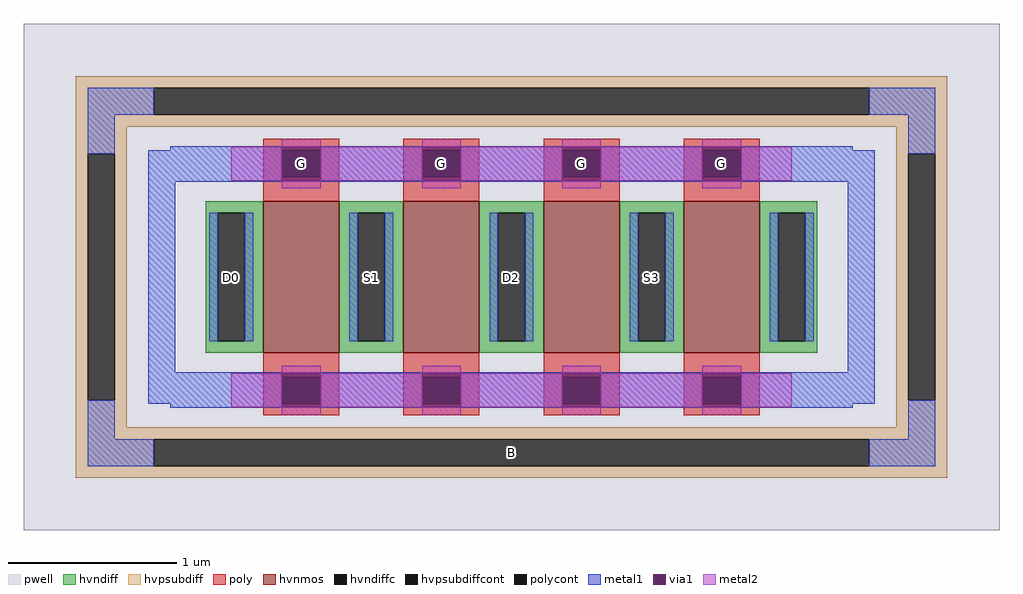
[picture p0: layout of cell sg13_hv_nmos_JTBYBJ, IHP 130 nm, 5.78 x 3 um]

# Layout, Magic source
magic
tech ihp-sg13cmos5l
magscale 1 2
<< pwell >>
rect -578 -300 578 300
<< hvnmos >>
rect -294 -90 -204 90
rect -128 -90 -38 90
rect 38 -90 128 90
rect 204 -90 294 90
<< hvndiff >>
rect -362 76 -294 90
rect -362 -76 -348 76
rect -316 -76 -294 76
rect -362 -90 -294 -76
rect -204 76 -128 90
rect -204 -76 -182 76
rect -150 -76 -128 76
rect -204 -90 -128 -76
rect -38 76 38 90
rect -38 -76 -16 76
rect 16 -76 38 76
rect -38 -90 38 -76
rect 128 76 204 90
rect 128 -76 150 76
rect 182 -76 204 76
rect 128 -90 204 -76
rect 294 76 362 90
rect 294 -76 316 76
rect 348 -76 362 76
rect 294 -90 362 -76
<< hvndiffc >>
rect -348 -76 -316 76
rect -182 -76 -150 76
rect -16 -76 16 76
rect 150 -76 182 76
rect 316 -76 348 76
<< hvpsubdiff >>
rect -516 224 516 238
rect -516 192 -424 224
rect 424 192 516 224
rect -516 178 516 192
rect -516 146 -456 178
rect -516 -146 -502 146
rect -470 -146 -456 146
rect 456 146 516 178
rect -516 -178 -456 -146
rect 456 -146 470 146
rect 502 -146 516 146
rect 456 -178 516 -146
rect -516 -192 516 -178
rect -516 -224 -424 -192
rect 424 -224 516 -192
rect -516 -238 516 -224
<< hvpsubdiffcont >>
rect -424 192 424 224
rect -502 -146 -470 146
rect 470 -146 502 146
rect -424 -224 424 -192
<< poly >>
rect -294 150 -204 164
rect -294 118 -272 150
rect -226 118 -204 150
rect -294 90 -204 118
rect -128 150 -38 164
rect -128 118 -106 150
rect -60 118 -38 150
rect -128 90 -38 118
rect 38 150 128 164
rect 38 118 60 150
rect 106 118 128 150
rect 38 90 128 118
rect 204 150 294 164
rect 204 118 226 150
rect 272 118 294 150
rect 204 90 294 118
rect -294 -118 -204 -90
rect -294 -150 -272 -118
rect -226 -150 -204 -118
rect -294 -164 -204 -150
rect -128 -118 -38 -90
rect -128 -150 -106 -118
rect -60 -150 -38 -118
rect -128 -164 -38 -150
rect 38 -118 128 -90
rect 38 -150 60 -118
rect 106 -150 128 -118
rect 38 -164 128 -150
rect 204 -118 294 -90
rect 204 -150 226 -118
rect 272 -150 294 -118
rect 204 -164 294 -150
<< polycont >>
rect -272 118 -226 150
rect -106 118 -60 150
rect 60 118 106 150
rect 226 118 272 150
rect -272 -150 -226 -118
rect -106 -150 -60 -118
rect 60 -150 106 -118
rect 226 -150 272 -118
<< metal1 >>
rect -502 192 -424 224
rect 424 192 502 224
rect -502 146 -470 192
rect -404 154 404 155
rect -404 150 -272 154
rect -502 -192 -470 -146
rect -430 114 -272 150
rect -226 114 -106 154
rect -60 114 60 154
rect 106 114 226 154
rect 272 150 404 154
rect 272 114 430 150
rect -430 113 430 114
rect -430 -113 -398 113
rect -358 -76 -348 76
rect -316 -76 -306 76
rect -192 -76 -182 76
rect -150 -76 -140 76
rect -26 -76 -16 76
rect 16 -76 26 76
rect 140 -76 150 76
rect 182 -76 192 76
rect 306 -76 316 76
rect 348 -76 358 76
rect 398 -113 430 113
rect -430 -114 430 -113
rect -430 -150 -272 -114
rect -404 -154 -272 -150
rect -226 -154 -106 -114
rect -60 -154 60 -114
rect 106 -154 226 -114
rect 272 -150 430 -114
rect 470 146 502 192
rect 272 -154 404 -150
rect -404 -155 404 -154
rect 470 -192 502 -146
rect -502 -224 -424 -192
rect 424 -224 502 -192
<< via1 >>
rect -272 150 -226 154
rect -272 118 -226 150
rect -272 114 -226 118
rect -106 150 -60 154
rect -106 118 -60 150
rect -106 114 -60 118
rect 60 150 106 154
rect 60 118 106 150
rect 60 114 106 118
rect 226 150 272 154
rect 226 118 272 150
rect 226 114 272 118
rect -272 -118 -226 -114
rect -272 -150 -226 -118
rect -272 -154 -226 -150
rect -106 -118 -60 -114
rect -106 -150 -60 -118
rect -106 -154 -60 -150
rect 60 -118 106 -114
rect 60 -150 106 -118
rect 60 -154 106 -150
rect 226 -118 272 -114
rect 226 -150 272 -118
rect 226 -154 272 -150
<< metal2 >>
rect -272 154 -226 163
rect -106 154 -60 163
rect 60 154 106 163
rect 226 154 272 163
rect -332 114 -272 154
rect -226 114 -106 154
rect -60 114 60 154
rect 106 114 226 154
rect 272 114 332 154
rect -272 105 -226 114
rect -106 105 -60 114
rect 60 105 106 114
rect 226 105 272 114
rect -272 -114 -226 -105
rect -106 -114 -60 -105
rect 60 -114 106 -105
rect 226 -114 272 -105
rect -332 -154 -272 -114
rect -226 -154 -106 -114
rect -60 -154 60 -114
rect 106 -154 226 -114
rect 272 -154 332 -114
rect -272 -163 -226 -154
rect -106 -163 -60 -154
rect 60 -163 106 -154
rect 226 -163 272 -154
<< labels >>
rlabel hvpsubdiffcont 0 -208 0 -208 0 B
port 1 nsew
rlabel hvndiffc -332 0 -332 0 0 D0
port 2 nsew
rlabel polycont -249 134 -249 134 0 G
port 3 nsew
rlabel hvndiffc -166 0 -166 0 0 S1
port 4 nsew
rlabel polycont -83 134 -83 134 0 G
port 3 nsew
rlabel hvndiffc 0 0 0 0 0 D2
port 5 nsew
rlabel polycont 83 134 83 134 0 G
port 3 nsew
rlabel hvndiffc 166 0 166 0 0 S3
port 6 nsew
rlabel polycont 249 134 249 134 0 G
port 3 nsew
<< properties >>
string FIXED_BBOX -486 -208 486 208
string gencell sg13_hv_nmos
string library sg13cmos5l
string parameters w 0.9 l 0.45 m 1 ng 4 diffcov 100 polycov 100 guard 1 glc 1 grc 1 gtc 1 gbc 1 tbcov 100 rlcov 100 topc 1 botc 1 poverlap 0 doverlap 1 lmin 0.45 wmin 0.15 class mosfet compatible {sg13_lv_nmos sg13_hv_nmos} full_metal 1 conn_gates 1 gate_ring 1 doports 1 viasrc 0 viadrn 0 viagate 100 ccols 1 viagb 0 viagr 0 viagl 0 viagt 0
<< end >>
